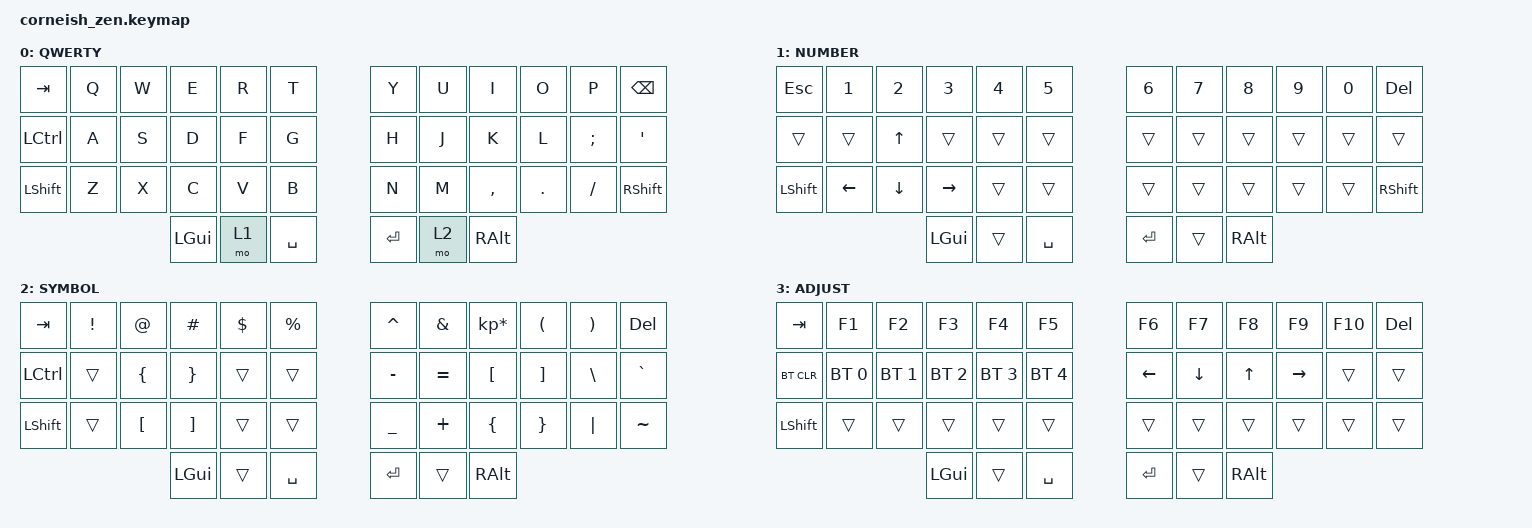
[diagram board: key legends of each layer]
/*
*
* Copyright (c) 2021 Darryl deHaan
* SPDX-License-Identifier: MIT
*
*/

#include <behaviors.dtsi>
#include <dt-bindings/zmk/keys.h>
#include <dt-bindings/zmk/bt.h>

/ {
  chosen {
    zmk,matrix_transform = &default_transform;
    //zmk,matrix_transform = &five_column_transform;
  };
};

/ {
    conditional_layers {
        compatible = "zmk,conditional-layers";
        tri_layer {
            if-layers = <1 2>;
            then-layer = <3>;
        };
    };
};

/ {
        keymap {
                compatible = "zmk,keymap";

                default_layer {
                        display-name = "QWERTY";
// -----------------------------------------------------------------------------------------
// |  TAB |  Q  |  W  |  E  |  R  |  T  |   |  Y  |  U   |  I  |  O  |  P  | BKSP |
// | CTRL |  A  |  S  |  D  |  F  |  G  |   |  H  |  J   |  K  |  L  |  ;  |  '   |
// | SHFT |  Z  |  X  |  C  |  V  |  B  |   |  N  |  M   |  ,  |  .  |  /  | SHFT  |
//                    | GUI | LWR | SPC |   | ENT | RSE  | ALT |
                        bindings = <
  &kp TAB          &kp Q  &kp W &kp E &kp R &kp T                  &kp Y &kp U &kp I     &kp O   &kp P         &kp BACKSPACE
  &kp LEFT_CONTROL &kp A  &kp S &kp D &kp F &kp G                  &kp H &kp J &kp K     &kp L   &kp SEMICOLON &kp SINGLE_QUOTE 
  &kp LEFT_SHIFT   &kp Z  &kp X &kp C &kp V &kp B                  &kp N &kp M &kp COMMA &kp DOT &kp SLASH     &kp RIGHT_SHIFT 
                          &kp LEFT_GUI &mo 1 &kp SPACE   &kp ENTER &mo 2 &kp RIGHT_ALT
                        >;
                };

                lower_layer {
                        display-name = "NUMBER";
// -----------------------------------------------------------------------------------------
// |  TAB |  1  |  2  |  3  |  4  |  5  |   |  6  |  7  |  8  |  9  |  0  | BKSP |
// 
// | SHFT |     |     |     |     |     |   |     |     |     |     |     |      |
//                    | GUI |     | SPC |   | ENT |     | ALT |
                        bindings = <
   &kp ESC    &kp N1       &kp N2     &kp N3     &kp N4     &kp N5         &kp N6   &kp N7   &kp N8  &kp N9    &kp N0 &kp DELETE
   &trans     &trans       &kp UP     &trans     &trans     &trans         &trans   &trans   &trans  &trans    &trans &trans
   &kp LSHFT  &kp LEFT     &kp DOWN   &kp RIGHT  &trans     &trans         &trans   &trans   &trans  &trans    &trans &kp RSHFT
                                      &kp LGUI   &trans     &kp SPACE      &kp RET  &trans   &kp RALT
                        >;
                };

                raise_layer {
                        display-name = "SYMBOL";
// -----------------------------------------------------------------------------------------
// |  TAB |  !  |  @  |  #  |  $  |  %  |   |  ^  |  &  |  *  |  (  |  )  | BKSP |
// | CTRL |     |     |     |     |     |   |  -  |  =  |  [  |  ]  |  \  |  `   |
// | SHFT |     |     |     |     |     |   |  _  |  +  |  {  |  }  | "|" |  ~   |
//                    | GUI |     | SPC |   | ENT |     | ALT |
                        bindings = <
   &kp TAB  &kp EXCL &kp AT           &kp HASH          &kp DLLR &kp PRCNT      &kp CARET &kp AMPS  &kp KP_MULTIPLY &kp LPAR &kp RPAR &kp DELETE
   &kp LCTRL &trans  &kp LEFT_BRACE   &kp RIGHT_BRACE   &trans   &trans         &kp MINUS &kp EQUAL &kp LBKT        &kp RBKT &kp BSLH &kp GRAVE
   &kp LSHFT &trans  &kp LEFT_BRACKET &kp RIGHT_BRACKET &trans   &trans         &kp UNDER &kp PLUS  &kp LBRC        &kp RBRC &kp PIPE &kp TILDE
                    	              &kp LGUI          &trans   &kp SPACE      &kp RET   &trans    &kp RALT
                        >;
                };

                adjust_layer {
                        display-name = "ADJUST";
// -----------------------------------------------------------------------------------------
// |  TAB |  !  |  @  |  #  |  $  |  %  |   |  ^  |  &  |  *  |  (  |  )  | BKSP |
// | CTRL |     |     |     |     |     |   |  -  |  =  |  [  |  ]  |  \  |  `   |
// | SHFT |     |     |     |     |     |   |  _  |  +  |  {  |  }  | "|" |  ~   |
//                    | GUI |     | SPC |   | ENT |     | ALT |
                        bindings = <
   &kp TAB    &kp F1       &kp F2       &kp F3       &kp F4       &kp F5           &kp F6   &kp F7   &kp F8 &kp F9    &kp F10 &kp DELETE
   &bt BT_CLR &bt BT_SEL 0 &bt BT_SEL 1 &bt BT_SEL 2 &bt BT_SEL 3 &bt BT_SEL 4     &kp LEFT &kp DOWN &kp UP &kp RIGHT &trans  &trans
   &kp LSHFT  &trans       &trans       &trans       &trans       &trans           &trans   &trans   &trans &trans    &trans  &trans
                                        &kp LGUI     &trans       &kp SPACE        &kp RET  &trans   &kp RALT
                        >;
                };
        };
};
